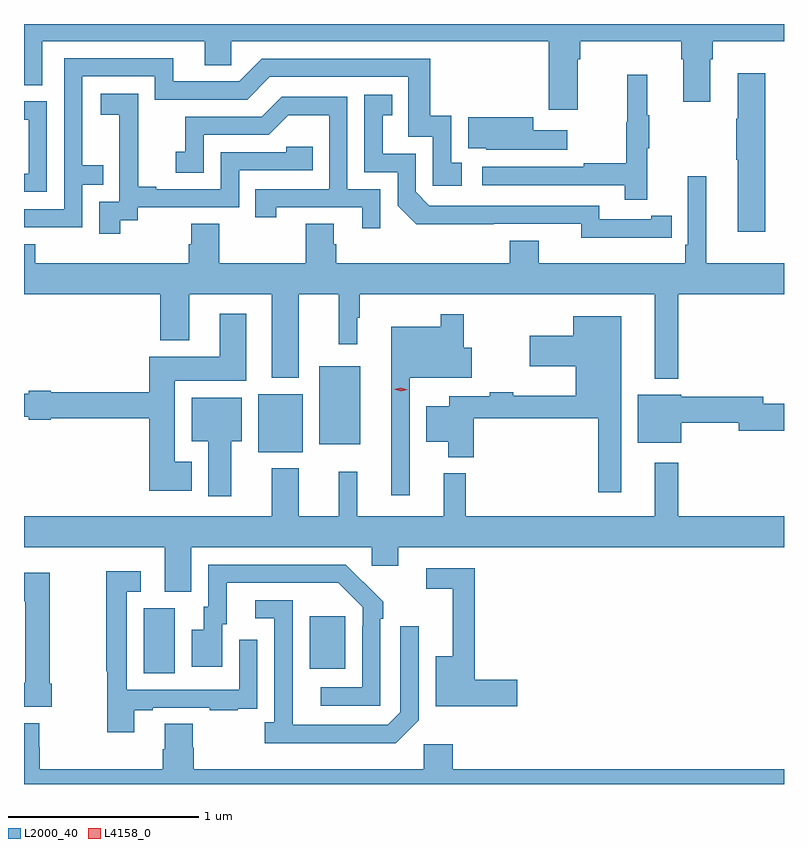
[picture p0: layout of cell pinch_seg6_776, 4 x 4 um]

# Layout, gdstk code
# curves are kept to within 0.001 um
import gdstk
lib = gdstk.Library(unit=1e-6, precision=1e-09)
def R(c, l, rs):  # rectangles x0, y0, x1, y1
    for r in rs: c.add(gdstk.rectangle(r[:2], r[2:], *l))
def P(c, l, *ps):  # polygons
    for p in ps: c.add(gdstk.Polygon(p, *l))
L2000_40 = (2000, 40)
L4158_0 = (4158, 0)

pinch_seg6_776 = lib.new_cell('pinch_seg6_776')
R(pinch_seg6_776, L2000_40, [(167.318,991.96,167.482,992.304), (168.191,991.985,168.379,992.26), (167.921,993.125,168.154,993.43), (168.242,993.167,168.457,993.577)])
P(pinch_seg6_776, L2000_40, [(166.688,995.056),(166.783,995.056),(166.783,995.288),(167.639,995.288),(167.639,995.161),(167.778,995.161),(167.778,995.288),(169.451,995.288),(169.451,994.926),(169.603,994.926),(169.603,995.192),(169.616,995.192),(169.616,995.288),(170.147,995.288),(170.147,995.192),(170.159,995.192),(170.159,994.968),(170.299,994.968),(170.299,995.192),(170.312,995.192),(170.312,995.288),(170.688,995.288),(170.688,995.378),(166.688,995.378)],
  [(166.995,994.533),(167.105,994.533),(167.105,994.634),(166.995,994.634),(166.995,995.103),(167.376,995.103),(167.376,994.98),(167.862,994.98),(167.982,995.1),(168.711,995.1),(168.711,994.785),(168.84,994.785),(168.84,994.527),(168.991,994.527),(168.991,994.647),(168.936,994.647),(168.936,994.894),(168.827,994.894),(168.827,995.196),(167.94,995.196),(167.82,995.076),(167.473,995.076),(167.473,995.199),(166.899,995.199),(166.899,994.404),(166.688,994.404),(166.688,994.308),(166.995,994.308)],
  [(170.59,995.119),(170.444,995.119),(170.444,994.88),(170.437,994.88),(170.437,994.663),(170.444,994.663),(170.444,994.284),(170.59,994.284)],
  [(169.967,994.723),(169.978,994.723),(169.978,994.897),(169.967,994.897),(169.967,995.11),(169.864,995.11),(169.864,994.86),(169.857,994.86),(169.857,994.646),(169.633,994.646),(169.633,994.626),(169.101,994.626),(169.101,994.53),(169.849,994.53),(169.849,994.452),(169.967,994.452)],
  [(167.194,994.345),(167.286,994.345),(167.286,994.413),(167.82,994.413),(167.82,994.608),(168.209,994.608),(168.209,994.731),(168.069,994.731),(168.069,994.704),(167.724,994.704),(167.724,994.509),(167.383,994.509),(167.383,994.522),(167.288,994.522),(167.288,994.805),(167.289,994.805),(167.289,995.011),(167.091,995.011),(167.091,994.901),(167.189,994.901),(167.189,994.673),(167.19,994.673),(167.19,994.443),(167.085,994.443),(167.085,994.275),(167.194,994.275)],
  [(169.988,994.254),(170.096,994.254),(170.096,994.37),(169.988,994.37),(169.988,994.35),(169.716,994.35),(169.716,994.422),(168.822,994.422),(168.75,994.494),(168.75,994.695),(168.577,994.695),(168.577,994.899),(168.626,994.899),(168.626,995.005),(168.48,995.005),(168.48,994.599),(168.654,994.599),(168.654,994.422),(168.752,994.325),(169.62,994.326),(169.62,994.253)],
  [(168.564,994.509),(168.39,994.509),(168.39,994.995),(168.044,994.995),(167.939,994.89),(167.536,994.89),(167.536,994.705),(167.487,994.705),(167.487,994.596),(167.634,994.596),(167.634,994.794),(167.976,994.794),(168.08,994.898),(168.294,994.898),(168.294,994.509),(167.905,994.509),(167.905,994.362),(168.016,994.362),(168.016,994.413),(168.467,994.413),(168.467,994.302),(168.564,994.302)],
  [(166.809,994.971),(166.688,994.971),(166.688,994.875),(166.713,994.875),(166.713,994.59),(166.688,994.59),(166.688,994.494),(166.809,994.494)],
  [(169.546,994.819),(169.369,994.819),(169.369,994.888),(169.025,994.888),(169.025,994.724),(169.122,994.724),(169.122,994.715),(169.546,994.715)],
  [(170.131,993.956),(170.688,993.956),(170.688,994.12),(170.278,994.12),(170.278,994.576),(170.181,994.576),(170.181,994.216),(170.168,994.216),(170.168,994.12),(169.396,994.12),(169.396,994.237),(169.244,994.237),(169.244,994.12),(168.332,994.12),(168.332,994.218),(168.319,994.218),(168.319,994.328),(168.172,994.328),(168.172,994.12),(167.715,994.12),(167.715,994.328),(167.567,994.328),(167.567,994.218),(167.555,994.218),(167.555,994.12),(166.748,994.12),(166.748,994.219),(166.688,994.219),(166.688,993.956),(167.405,993.956),(167.405,993.713),(167.557,993.713),(167.557,993.956),(167.993,993.956),(167.993,993.515),(168.133,993.515),(168.133,993.956),(168.344,993.956),(168.344,993.693),(168.442,993.693),(168.442,993.833),(168.454,993.833),(168.454,993.956),(170.009,993.956),(170.009,993.512),(170.131,993.512)],
  [(167.572,993.073),(167.482,993.073),(167.482,993.5),(167.857,993.5),(167.857,993.853),(167.717,993.853),(167.717,993.628),(167.348,993.628),(167.348,993.44),(166.83,993.44),(166.83,993.448),(166.712,993.448),(166.712,993.433),(166.688,993.433),(166.688,993.311),(166.712,993.311),(166.712,993.296),(166.83,993.296),(166.83,993.304),(167.348,993.304),(167.348,992.921),(167.572,992.921)],
  [(168.717,993.515),(169.045,993.515),(169.045,993.673),(169.003,993.673),(169.003,993.85),(168.882,993.85),(168.882,993.784),(168.62,993.784),(168.62,992.898),(168.717,992.898)],
  [(169.831,993.841),(169.58,993.841),(169.58,993.736),(169.35,993.736),(169.35,993.578),(169.592,993.578),(169.592,993.421),(169.262,993.421),(169.262,993.44),(169.138,993.44),(169.138,993.42),(168.926,993.42),(168.926,993.367),(168.806,993.367),(168.806,993.179),(168.92,993.179),(168.92,993.098),(169.055,993.098),(169.055,993.304),(169.71,993.304),(169.71,992.913),(169.831,992.913)],
  [(170.146,993.28),(170.45,993.28),(170.45,993.238),(170.688,993.238),(170.688,993.38),(170.578,993.38),(170.578,993.416),(170.146,993.416),(170.146,993.427),(169.919,993.427),(169.919,993.173),(170.146,993.173)],
  [(167.779,993.182),(167.833,993.182),(167.833,993.412),(167.57,993.412),(167.57,993.182),(167.657,993.182),(167.657,992.892),(167.779,992.892)],
  [(167.569,992.624),(168.519,992.624),(168.519,992.526),(168.658,992.526),(168.658,992.624),(170.688,992.624),(170.688,992.788),(170.131,992.788),(170.131,993.07),(170.009,993.07),(170.009,992.788),(169.013,992.788),(169.013,993.013),(168.896,993.013),(168.896,992.788),(168.443,992.788),(168.443,993.022),(168.344,993.022),(168.344,992.788),(168.133,992.788),(168.133,993.04),(167.993,993.04),(167.993,992.788),(166.688,992.788),(166.688,992.624),(167.429,992.624),(167.429,992.389),(167.569,992.389)],
  [(168.564,992.249),(168.579,992.249),(168.579,992.337),(168.382,992.532),(167.658,992.532),(167.658,992.31),(167.633,992.31),(167.633,992.191),(167.57,992.191),(167.57,991.995),(167.731,991.995),(167.731,992.22),(167.755,992.22),(167.755,992.436),(168.343,992.436),(168.471,992.307),(168.471,992.207),(168.468,992.207),(168.468,991.887),(168.249,991.887),(168.249,991.791),(168.564,991.791)],
  [(169.285,991.928),(169.061,991.928),(169.061,992.514),(168.804,992.514),(168.804,992.406),(168.944,992.406),(168.944,992.05),(168.854,992.05),(168.854,991.786),(169.285,991.786)],
  [(167.269,991.767),(167.365,991.767),(167.365,991.779),(167.665,991.779),(167.665,991.767),(167.813,991.767),(167.813,991.773),(167.915,991.773),(167.915,991.882),(167.916,991.882),(167.916,992.137),(167.82,992.137),(167.82,991.875),(167.229,991.875),(167.229,992.391),(167.302,992.391),(167.302,992.497),(167.121,992.497),(167.121,991.972),(167.125,991.972),(167.125,991.65),(167.269,991.65)],
  [(166.834,991.905),(166.824,991.905),(166.824,992.491),(166.688,992.491),(166.688,992.339),(166.694,992.339),(166.694,991.912),(166.688,991.912),(166.688,991.784),(166.834,991.784)],
  [(168.765,991.713),(168.765,992.209),(168.669,992.209),(168.669,991.755),(168.603,991.689),(168.103,991.689),(168.102,992.346),(167.904,992.346),(167.904,992.25),(168.006,992.25),(168.006,991.702),(167.955,991.702),(167.955,991.592),(168.644,991.592)],
  [(170.688,991.456),(168.944,991.456),(168.944,991.588),(168.792,991.588),(168.792,991.456),(167.582,991.456),(167.582,991.569),(167.577,991.569),(167.577,991.694),(167.429,991.694),(167.429,991.562),(167.417,991.562),(167.417,991.456),(166.772,991.456),(166.772,991.572),(166.767,991.572),(166.767,991.699),(166.688,991.699),(166.688,991.378),(170.688,991.378)])
P(pinch_seg6_776, L4158_0, [(168.671,993.444),(168.636,993.456),(168.636,993.456),(168.636,993.456),(168.672,993.464),(168.707,993.453),(168.707,993.452),(168.707,993.452)])

lib.write_gds('pinch_seg6_776.gds')
